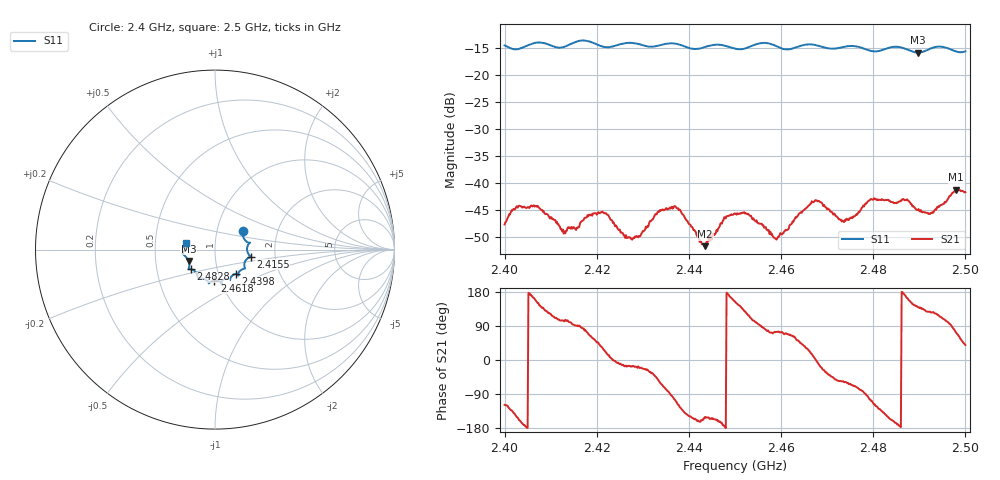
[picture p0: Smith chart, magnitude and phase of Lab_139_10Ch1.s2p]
# Hz S RI R 50
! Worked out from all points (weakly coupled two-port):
!   601 points, 2.4 GHz to 2.5 GHz, reference 50 ohm
!   highest |S21| = -41.29 dB at 2.498 GHz (marker M1); lowest = -51.7 dB at 2.4435 GHz (marker M2)
!   lowest |S11| = -15.9 dB at 2.4897 GHz (marker M3), VSWR 1.38, Z = 36.9 - j4.83 ohm
!   |S11| at or under -10 dB: start of sweep to end of sweep
!   S12 and S22 are empty: the file has one direction only
!   S11 on the Smith chart (normalised r, x): 2.4 GHz: 1.33, +0.29; 2.4155 GHz: 1.49, -0.12; 2.4398 GHz: 1.21, -0.34; 2.4618 GHz: 0.94, -0.33; 2.4828 GHz: 0.74, -0.17; 2.5 GHz: 0.72, +0.06
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2.4e9  0.1545 0.1055  -0.00196 -0.00362  0 0  0 0
2.406667e9  0.194 0.0383  -0.00567 0.00221  0 0  0 0
2.412667e9  0.1797 -0.00909  -0.000887 0.00358  0 0  0 0
2.4155e9  0.1984 -0.0393  -3.74e-05 0.00366  0 0  0 0
2.416667e9  0.2033 -0.0429  0.000278 0.00437  0 0  0 0
2.4215e9  0.1716 -0.0591  0.00471 0.00236  0 0  0 0
2.427667e9  0.1673 -0.1046  0.00284 -0.00088  0 0  0 0
2.433333e9  0.1297 -0.1338  0.00332 -0.00429  0 0  0 0
2.437167e9  0.1311 -0.143  -0.00193 -0.00567  0 0  0 0
2.439833e9  0.1151 -0.1358  -0.00356 -0.00237  0 0  0 0
2.4435e9  0.0862 -0.1591  -0.00225 -0.00129  0 0  0 0
2.45e9  0.0654 -0.1621  -0.0047 0.00222  0 0  0 0
2.458667e9  0.0332 -0.1838  0.000823 0.00296  0 0  0 0
2.461833e9  -0.00335 -0.1727  0.00167 0.00367  0 0  0 0
2.466667e9  -0.0348 -0.1878  0.0065 0.00185  0 0  0 0
2.4735e9  -0.0849 -0.1598  0.00245 -0.00366  0 0  0 0
2.482833e9  -0.1364 -0.1091  -0.00572 -0.00396  0 0  0 0
2.483333e9  -0.1402 -0.109  -0.00613 -0.00327  0 0  0 0
2.489667e9  -0.1474 -0.0637  -0.00424 0.00365  0 0  0 0
2.492667e9  -0.1741 -0.029  -0.00304 0.00429  0 0  0 0
2.498e9  -0.1643 0.00555  0.00269 0.00819  0 0  0 0
2.5e9  -0.1598 0.0394  0.00632 0.00522  0 0  0 0
